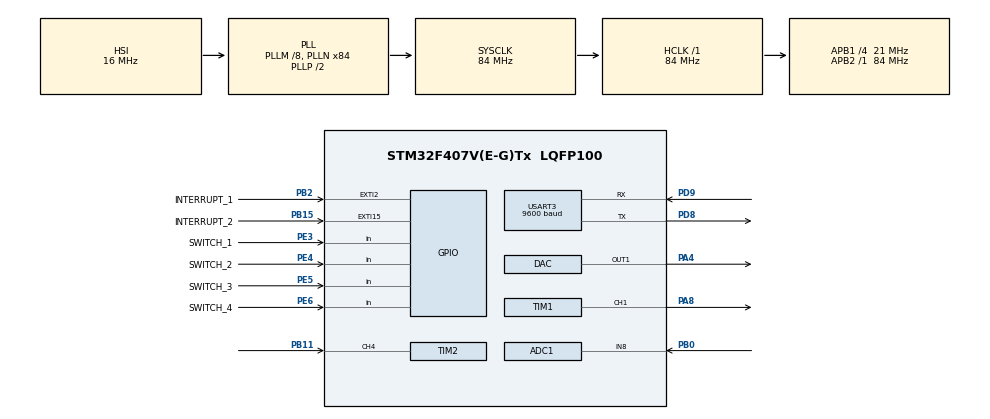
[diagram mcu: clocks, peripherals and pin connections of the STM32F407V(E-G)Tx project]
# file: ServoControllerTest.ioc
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ADC1.Channel-0\#ChannelRegularConversion=ADC_CHANNEL_8
ADC1.NbrOfConversionFlag=1
ADC1.Rank-0\#ChannelRegularConversion=1
ADC1.SamplingTime-0\#ChannelRegularConversion=ADC_SAMPLETIME_3CYCLES
ADC1.master=1
Mcu.Family=STM32F4
Mcu.Name=STM32F407V(E-G)Tx
Mcu.Package=LQFP100
NVIC.EXTI15_10_IRQn=true\:0\:0\:false\:false\:true\:true\:true
NVIC.EXTI2_IRQn=true\:0\:0\:false\:false\:true\:true\:true
NVIC.PriorityGroup=NVIC_PRIORITYGROUP_4
NVIC.TIM2_IRQn=true\:0\:0\:false\:false\:true\:true\:true
NVIC.USART3_IRQn=true\:0\:0\:false\:false\:true\:true\:true
PA4.Signal=COMP_DAC1_group
PA8.Signal=S_TIM1_CH1
PB0.Signal=ADCx_IN8
PB11.Signal=S_TIM2_CH4
PB15.GPIO_Label=INTERRUPT_2
PB15.Signal=GPXTI15
PB2.GPIO_Label=INTERRUPT_1
PB2.Signal=GPXTI2
PD8.Mode=Asynchronous
PD8.Signal=USART3_TX
PD9.Mode=Asynchronous
PD9.Signal=USART3_RX
PE3.GPIO_Label=SWITCH_1
PE3.Signal=GPIO_Input
PE4.GPIO_Label=SWITCH_2
PE4.Signal=GPIO_Input
PE5.GPIO_Label=SWITCH_3
PE5.Signal=GPIO_Input
PE6.GPIO_Label=SWITCH_4
PE6.Signal=GPIO_Input
ProjectManager.HeapSize=0x200
ProjectManager.StackSize=0x400
ProjectManager.TargetToolchain=MDK-ARM V5
RCC.48MHZClocksFreq_Value=42000000
RCC.AHBFreq_Value=84000000
RCC.APB1CLKDivider=RCC_HCLK_DIV4
RCC.APB1Freq_Value=21000000
RCC.APB1TimFreq_Value=42000000
RCC.APB2Freq_Value=84000000
RCC.APB2TimFreq_Value=84000000
RCC.CortexFreq_Value=84000000
RCC.HCLKFreq_Value=84000000
RCC.HSE_VALUE=25000000
RCC.HSI_VALUE=16000000
RCC.LSE_VALUE=32768
RCC.PLLM=8
RCC.PLLN=84
RCC.SYSCLKFreq_VALUE=84000000
RCC.SYSCLKSource=RCC_SYSCLKSOURCE_PLLCLK
RCC.VCOOutputFreq_Value=168000000
SH.ADCx_IN8.0=ADC1_IN8,IN8
SH.COMP_DAC1_group.0=DAC_OUT1,DAC_OUT1
SH.S_TIM1_CH1.0=TIM1_CH1,PWM Generation1 CH1
SH.S_TIM2_CH4.0=TIM2_CH4,Input_Capture4_from_TI4
TIM1.Channel-PWM\ Generation1\ CH1=TIM_CHANNEL_1
TIM1.Period=999
TIM1.Prescaler=84
TIM2.AutoReloadPreload=TIM_AUTORELOAD_PRELOAD_ENABLE
TIM2.Channel-Input_Capture4_from_TI4=TIM_CHANNEL_4
TIM2.Period=65535
TIM2.Prescaler=42
USART3.BaudRate=9600
USART3.VirtualMode=VM_ASYNC
VP_TIM1_VS_ClockSourceINT.Mode=Internal
board=custom

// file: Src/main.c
/* USER CODE BEGIN Header */
/**
  ******************************************************************************
  * @file           : main.c
  * @brief          : Main program body
  ******************************************************************************
  * @attention
  *
  * <h2><center>&copy; Copyright (c) 2019 STMicroelectronics.
  * All rights reserved.</center></h2>
  *
  * This software component is licensed by ST under BSD 3-Clause license,
  * the "License"; You may not use this file except in compliance with the
  * License. You may obtain a copy of the License at:
  *                        opensource.org/licenses/BSD-3-Clause
  *
  ******************************************************************************
  */
/* USER CODE END Header */

#include "main.h"

/* USER CODE BEGIN Includes */
#include <stdio.h>
#include <string.h>
#include "bsp.h"
/* USER CODE END Includes */

/* USER CODE BEGIN PM */
uint16_t Value;
int INTERRUPT_1 = 0;
int INTERRUPT_2 = 0;
/* USER CODE END PM */

ADC_HandleTypeDef hadc1;

DAC_HandleTypeDef hdac;

TIM_HandleTypeDef htim1;
TIM_HandleTypeDef htim2;

UART_HandleTypeDef huart3;

void SystemClock_Config(void);
static void MX_GPIO_Init(void);
static void MX_ADC1_Init(void);
static void MX_DAC_Init(void);
static void MX_TIM1_Init(void);
static void MX_TIM2_Init(void);
static void MX_USART3_UART_Init(void);

/* USER CODE BEGIN 0 */
int fputc(int ch, FILE *f)
{
  return ITM_SendChar(ch);
}

int ENABLE_1(){
		static int EVENT_1 = 0;
	if(INTERRUPT_1){
			EVENT_1 = !EVENT_1;
			INTERRUPT_1 = 0;
	}
	return EVENT_1;
}

int ENABLE_2(){
		static int EVENT_2 = 0;
	if(INTERRUPT_2){
			EVENT_2 = !EVENT_2;
			INTERRUPT_2 = 0;
	}
	return EVENT_2;
}
/* USER CODE END 0 */

int main(void)
{
  /* USER CODE BEGIN 1 */
uint16_t period = 0;
  /* USER CODE END 1 */

  /* MCU Configuration--------------------------------------------------------*/

  /* Reset of all peripherals, Initializes the Flash interface and the Systick. */
  HAL_Init();

  /* Configure the system clock */
  SystemClock_Config();

  /* Initialize all configured peripherals */
  MX_GPIO_Init();
  MX_ADC1_Init();
  MX_DAC_Init();
  MX_TIM1_Init();
  MX_TIM2_Init();
  MX_USART3_UART_Init();
  /* USER CODE BEGIN 2 */
  HAL_TIM_Base_Start(&htim1);   //
  HAL_TIM_PWM_Start(&htim1,TIM_CHANNEL_1);
  HAL_TIM_Base_Start(&htim2);
  HAL_TIM_IC_Start_IT(&htim2, TIM_CHANNEL_4);  //START INTERRUPT
  /* USER CODE END 2 */

  /* Infinite loop */
  /* USER CODE BEGIN WHILE */
  while (1)
  {
		int Volt;
    /* USER CODE END WHILE */

    /* USER CODE BEGIN 3 */
		if(SWITCH_3()== SET){
		period = 1999; //2000 us = 500Hz
	}else {
		period = 0;
	}
    __HAL_TIM_SET_AUTORELOAD(&htim1, period);
  if(SWITCH_1() == SET){
		__HAL_TIM_SET_COMPARE(&htim1, TIM_CHANNEL_1, period/4);
		printf("Value: %d\n", Value);
		Value = 0;
	 }else{
		printf("PLEASE TURN ON SWITCH_1 FOR READ PERIOD\n");
	 }

	if(SWITCH_4() == SET){
		Volt = 1861;
	}else{
		Volt = 0;
	}

    HAL_DAC_SetValue(&hdac, DAC_CHANNEL_1, DAC_ALIGN_12B_R, Volt);
    HAL_DAC_Start(&hdac, DAC_CHANNEL_1);
	if(SWITCH_2() == SET){
		HAL_ADC_Start(&hadc1);
    while(HAL_ADC_PollForConversion(&hadc1, 1000));
    uint16_t analogVal = HAL_ADC_GetValue(&hadc1);
		printf("Analog value: %d\n", analogVal);
	}else{
		printf("PLEASE TURN ON SWITCH_2 FOR READ VOLTAGE\n");
	}

	int EVENT_1 = ENABLE_1();
	int EVENT_2 = ENABLE_2();
		char txt1[] ="Hello,World";
    static char Buffer[30];
  if(EVENT_1 == 1){
		HAL_UART_Transmit_IT(&huart3, txt1, strlen(txt1));
		HAL_UART_Receive_IT(&huart3, Buffer, strlen(txt1));
		printf("Text: %s, %s\n", txt1, Buffer);
		if(EVENT_2==1){
			printf("Number of received characters : %d\n", strlen(txt1));
		}
	}else{
		printf("PLEASE PUSH BUTTON FOR TRANSMIT UART\n");
	}

	printf("***************************************************\n");
	HAL_Delay(2000);

  }
  /* USER CODE END 3 */
}

void SystemClock_Config(void)
{
  RCC_OscInitTypeDef RCC_OscInitStruct = {0};
  RCC_ClkInitTypeDef RCC_ClkInitStruct = {0};

  /** Configure the main internal regulator output voltage
  */
  __HAL_RCC_PWR_CLK_ENABLE();
  __HAL_PWR_VOLTAGESCALING_CONFIG(PWR_REGULATOR_VOLTAGE_SCALE1);
  /** Initializes the CPU, AHB and APB busses clocks
  */
  RCC_OscInitStruct.OscillatorType = RCC_OSCILLATORTYPE_HSI;
  RCC_OscInitStruct.HSIState = RCC_HSI_ON;
  RCC_OscInitStruct.HSICalibrationValue = RCC_HSICALIBRATION_DEFAULT;
  RCC_OscInitStruct.PLL.PLLState = RCC_PLL_ON;
  RCC_OscInitStruct.PLL.PLLSource = RCC_PLLSOURCE_HSI;
  RCC_OscInitStruct.PLL.PLLM = 8;
  RCC_OscInitStruct.PLL.PLLN = 84;
  RCC_OscInitStruct.PLL.PLLP = RCC_PLLP_DIV2;
  RCC_OscInitStruct.PLL.PLLQ = 4;
  if (HAL_RCC_OscConfig(&RCC_OscInitStruct) != HAL_OK)
  {
    Error_Handler();
  }
  /** Initializes the CPU, AHB and APB busses clocks
  */
  RCC_ClkInitStruct.ClockType = RCC_CLOCKTYPE_HCLK|RCC_CLOCKTYPE_SYSCLK
                              |RCC_CLOCKTYPE_PCLK1|RCC_CLOCKTYPE_PCLK2;
  RCC_ClkInitStruct.SYSCLKSource = RCC_SYSCLKSOURCE_PLLCLK;
  RCC_ClkInitStruct.AHBCLKDivider = RCC_SYSCLK_DIV1;
  RCC_ClkInitStruct.APB1CLKDivider = RCC_HCLK_DIV4;
  RCC_ClkInitStruct.APB2CLKDivider = RCC_HCLK_DIV1;

  if (HAL_RCC_ClockConfig(&RCC_ClkInitStruct, FLASH_LATENCY_2) != HAL_OK)
  {
    Error_Handler();
  }
}

static void MX_ADC1_Init(void)
{

  ADC_ChannelConfTypeDef sConfig = {0};

  /** Configure the global features of the ADC (Clock, Resolution, Data Alignment and number of conversion)
  */
  hadc1.Instance = ADC1;
  hadc1.Init.ClockPrescaler = ADC_CLOCK_SYNC_PCLK_DIV4;
  hadc1.Init.Resolution = ADC_RESOLUTION_12B;
  hadc1.Init.ScanConvMode = DISABLE;
  hadc1.Init.ContinuousConvMode = DISABLE;
  hadc1.Init.DiscontinuousConvMode = DISABLE;
  hadc1.Init.ExternalTrigConvEdge = ADC_EXTERNALTRIGCONVEDGE_NONE;
  hadc1.Init.ExternalTrigConv = ADC_SOFTWARE_START;
  hadc1.Init.DataAlign = ADC_DATAALIGN_RIGHT;
  hadc1.Init.NbrOfConversion = 1;
  hadc1.Init.DMAContinuousRequests = DISABLE;
  hadc1.Init.EOCSelection = ADC_EOC_SINGLE_CONV;
  if (HAL_ADC_Init(&hadc1) != HAL_OK)
  {
    Error_Handler();
  }
  /** Configure for the selected ADC regular channel its corresponding rank in the sequencer and its sample time.
  */
  sConfig.Channel = ADC_CHANNEL_8;
  sConfig.Rank = 1;
  sConfig.SamplingTime = ADC_SAMPLETIME_3CYCLES;
  if (HAL_ADC_ConfigChannel(&hadc1, &sConfig) != HAL_OK)
  {
    Error_Handler();
  }

}

static void MX_DAC_Init(void)
{

  DAC_ChannelConfTypeDef sConfig = {0};

  /** DAC Initialization
  */
  hdac.Instance = DAC;
  if (HAL_DAC_Init(&hdac) != HAL_OK)
  {
    Error_Handler();
  }
  /** DAC channel OUT1 config
  */
  sConfig.DAC_Trigger = DAC_TRIGGER_NONE;
  sConfig.DAC_OutputBuffer = DAC_OUTPUTBUFFER_ENABLE;
  if (HAL_DAC_ConfigChannel(&hdac, &sConfig, DAC_CHANNEL_1) != HAL_OK)
  {
    Error_Handler();
  }

}

static void MX_TIM1_Init(void)
{

  TIM_ClockConfigTypeDef sClockSourceConfig = {0};
  TIM_MasterConfigTypeDef sMasterConfig = {0};
  TIM_OC_InitTypeDef sConfigOC = {0};
  TIM_BreakDeadTimeConfigTypeDef sBreakDeadTimeConfig = {0};

  htim1.Instance = TIM1;
  htim1.Init.Prescaler = 84;
  htim1.Init.CounterMode = TIM_COUNTERMODE_UP;
  htim1.Init.Period = 999;
  htim1.Init.ClockDivision = TIM_CLOCKDIVISION_DIV1;
  htim1.Init.RepetitionCounter = 0;
  htim1.Init.AutoReloadPreload = TIM_AUTORELOAD_PRELOAD_DISABLE;
  if (HAL_TIM_Base_Init(&htim1) != HAL_OK)
  {
    Error_Handler();
  }
  sClockSourceConfig.ClockSource = TIM_CLOCKSOURCE_INTERNAL;
  if (HAL_TIM_ConfigClockSource(&htim1, &sClockSourceConfig) != HAL_OK)
  {
    Error_Handler();
  }
  if (HAL_TIM_PWM_Init(&htim1) != HAL_OK)
  {
    Error_Handler();
  }
  sMasterConfig.MasterOutputTrigger = TIM_TRGO_RESET;
  sMasterConfig.MasterSlaveMode = TIM_MASTERSLAVEMODE_DISABLE;
  if (HAL_TIMEx_MasterConfigSynchronization(&htim1, &sMasterConfig) != HAL_OK)
  {
    Error_Handler();
  }
  sConfigOC.OCMode = TIM_OCMODE_PWM1;
  sConfigOC.Pulse = 0;
  sConfigOC.OCPolarity = TIM_OCPOLARITY_HIGH;
  sConfigOC.OCNPolarity = TIM_OCNPOLARITY_HIGH;
  sConfigOC.OCFastMode = TIM_OCFAST_DISABLE;
  sConfigOC.OCIdleState = TIM_OCIDLESTATE_RESET;
  sConfigOC.OCNIdleState = TIM_OCNIDLESTATE_RESET;
  if (HAL_TIM_PWM_ConfigChannel(&htim1, &sConfigOC, TIM_CHANNEL_1) != HAL_OK)
  {
    Error_Handler();
  }
  sBreakDeadTimeConfig.OffStateRunMode = TIM_OSSR_DISABLE;
  sBreakDeadTimeConfig.OffStateIDLEMode = TIM_OSSI_DISABLE;
  sBreakDeadTimeConfig.LockLevel = TIM_LOCKLEVEL_OFF;
  sBreakDeadTimeConfig.DeadTime = 0;
  sBreakDeadTimeConfig.BreakState = TIM_BREAK_DISABLE;
  sBreakDeadTimeConfig.BreakPolarity = TIM_BREAKPOLARITY_HIGH;
  sBreakDeadTimeConfig.AutomaticOutput = TIM_AUTOMATICOUTPUT_DISABLE;
  if (HAL_TIMEx_ConfigBreakDeadTime(&htim1, &sBreakDeadTimeConfig) != HAL_OK)
  {
    Error_Handler();
  }
  HAL_TIM_MspPostInit(&htim1);

}

static void MX_TIM2_Init(void)
{

  TIM_MasterConfigTypeDef sMasterConfig = {0};
  TIM_IC_InitTypeDef sConfigIC = {0};

  htim2.Instance = TIM2;
  htim2.Init.Prescaler = 42;
  htim2.Init.CounterMode = TIM_COUNTERMODE_UP;
  htim2.Init.Period = 65535;
  htim2.Init.ClockDivision = TIM_CLOCKDIVISION_DIV1;
  htim2.Init.AutoReloadPreload = TIM_AUTORELOAD_PRELOAD_ENABLE;
  if (HAL_TIM_IC_Init(&htim2) != HAL_OK)
  {
    Error_Handler();
  }
  sMasterConfig.MasterOutputTrigger = TIM_TRGO_RESET;
  sMasterConfig.MasterSlaveMode = TIM_MASTERSLAVEMODE_DISABLE;
  if (HAL_TIMEx_MasterConfigSynchronization(&htim2, &sMasterConfig) != HAL_OK)
  {
    Error_Handler();
  }
  sConfigIC.ICPolarity = TIM_INPUTCHANNELPOLARITY_RISING;
  sConfigIC.ICSelection = TIM_ICSELECTION_DIRECTTI;
  sConfigIC.ICPrescaler = TIM_ICPSC_DIV1;
  sConfigIC.ICFilter = 0;
  if (HAL_TIM_IC_ConfigChannel(&htim2, &sConfigIC, TIM_CHANNEL_4) != HAL_OK)
  {
    Error_Handler();
  }

}

static void MX_USART3_UART_Init(void)
{

  huart3.Instance = USART3;
  huart3.Init.BaudRate = 9600;
  huart3.Init.WordLength = UART_WORDLENGTH_8B;
  huart3.Init.StopBits = UART_STOPBITS_1;
  huart3.Init.Parity = UART_PARITY_NONE;
  huart3.Init.Mode = UART_MODE_TX_RX;
  huart3.Init.HwFlowCtl = UART_HWCONTROL_NONE;
  huart3.Init.OverSampling = UART_OVERSAMPLING_16;
  if (HAL_UART_Init(&huart3) != HAL_OK)
  {
    Error_Handler();
  }

}

static void MX_GPIO_Init(void)
{
  GPIO_InitTypeDef GPIO_InitStruct = {0};

  /* GPIO Ports Clock Enable */
  __HAL_RCC_GPIOE_CLK_ENABLE();
  __HAL_RCC_GPIOA_CLK_ENABLE();
  __HAL_RCC_GPIOB_CLK_ENABLE();
  __HAL_RCC_GPIOD_CLK_ENABLE();

  /*Configure GPIO pins : SWITCH_1_Pin SWITCH_2_Pin SWITCH_3_Pin SWITCH_4_Pin */
  GPIO_InitStruct.Pin = SWITCH_1_Pin|SWITCH_2_Pin|SWITCH_3_Pin|SWITCH_4_Pin;
  GPIO_InitStruct.Mode = GPIO_MODE_INPUT;
  GPIO_InitStruct.Pull = GPIO_NOPULL;
  HAL_GPIO_Init(GPIOE, &GPIO_InitStruct);

  /*Configure GPIO pins : INTERRUPT_1_Pin INTERRUPT_2_Pin */
  GPIO_InitStruct.Pin = INTERRUPT_1_Pin|INTERRUPT_2_Pin;
  GPIO_InitStruct.Mode = GPIO_MODE_IT_RISING;
  GPIO_InitStruct.Pull = GPIO_NOPULL;
  HAL_GPIO_Init(GPIOB, &GPIO_InitStruct);

  /* EXTI interrupt init*/
  HAL_NVIC_SetPriority(EXTI2_IRQn, 0, 0);
  HAL_NVIC_EnableIRQ(EXTI2_IRQn);

  HAL_NVIC_SetPriority(EXTI15_10_IRQn, 0, 0);
  HAL_NVIC_EnableIRQ(EXTI15_10_IRQn);

}

/* USER CODE BEGIN 4 */
void HAL_TIM_IC_CaptureCallback (TIM_HandleTypeDef *htim)
{
  extern uint16_t Value;
  Value = __HAL_TIM_GetCompare(htim, TIM_CHANNEL_4);
  //Value = HAL_TIM_ReadCapturedValue(htim, TIM_CHANNEL_4);
  __HAL_TIM_SetCounter(htim, 0);
}

void HAL_USART_RxCpltCallback(UART_HandleTypeDef *huart)
{
}
/* USER CODE END 4 */

void Error_Handler(void)
{
}

/************************ (C) COPYRIGHT STMicroelectronics *****END OF FILE****/
